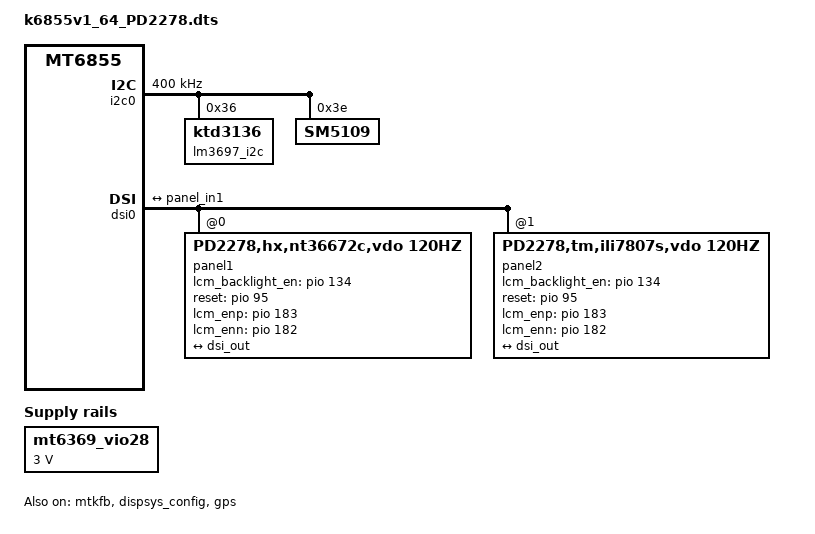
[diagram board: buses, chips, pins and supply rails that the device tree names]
// SPDX-License-Identifier: (GPL-2.0 OR MIT)
/*
 * Copyright (C) 2021 MediaTek Inc.
 */
/dts-v1/;
/plugin/;
#include <dt-bindings/interrupt-controller/arm-gic.h>
#include <dt-bindings/interrupt-controller/irq.h>
#include <dt-bindings/pinctrl/mt6855-pinfunc.h>
#include "mediatek/mt6855-sia8159-PD2278.dtsi" /*vivo audio add for PA SIA8159*/

&mtk_leds {
	compatible = "mediatek,disp-leds";

	backlight {
		led_mode = <4>;
		gate_enable = <1>;
		pwm_config = <0 1 0 0 0>;
		label = "lcd-backlight";
		max-brightness = <2047>;
		led-bits = <11>;
		default-state="on";
	};
};

/* Trustonic Mobicore real driver */
&mobicore {
	trustonic,real-drv = <1>;
};

&pio {
	i2c0_active: i2c0_active {
		pins_cmd0_dat {
			pinmux = <PINMUX_GPIO137__FUNC_SCL0>,<PINMUX_GPIO138__FUNC_SDA0>;
			bias-pull-up;
			mediatek,drive-strength-adv = <0>;
			drive-strength = <2>;
		};
	};
	i2c0_suspend: i2c0_suspend {
		pins_cmd0_dat {
			pinmux = <PINMUX_GPIO137__FUNC_GPIO137>,<PINMUX_GPIO138__FUNC_GPIO138>;
			bias-pull-down;
		};
	};
};

&i2c0 {
	#address-cells = <1>;
	#size-cells = <0>;
	clock-frequency = <400000>;
	mediatek,use-open-drain;

	lm3697_i2c@36 {
		compatible = "ktd3136", "aw99703";
		reg = <0x36>;
		status = "okay";
		leds_vivo,parallel_num = <3>;
		leds_vivo,hbm_current_values = /bits/ 8 <0xd 0x12 0x13 0x16>; //note: [0]=ctrl_a_fs_current,  [1]=hbm1, [2]=hbm2, [3]=hbm3
	};

	SM5109@3E {
		compatible = "SM5109";
		reg = <0x3E>;
		status = "okay";
		pinctrl-names = "default", "sleep";
		pinctrl-0 = <&i2c0_active>;
		pinctrl-1 = <&i2c0_suspend>;
	};

};
&pio {
	mtkfb_pins_lcm_led_en1: lcm_led_en1_gpio {
		pins_cmd_dat {
			pinmux = <PINMUX_GPIO161__FUNC_GPIO161>;
			slew-rate = <1>;
			output-high;
		};
	};

	mtkfb_pins_lcm_led_en0: lcm_led_en0_gpio {
		pins_cmd_dat {
			pinmux = <PINMUX_GPIO161__FUNC_GPIO161>;
			slew-rate = <1>;
			output-low;
		};
	};

	mtkfb_pins_lcm_rst_out1_gpio: lcm_rst_out1_gpio {
		pins_cmd_dat {
			pinmux = <PINMUX_GPIO95__FUNC_GPIO95>;
			slew-rate = <1>;
			output-high;
		};
	};

	mtkfb_pins_lcm_rst_out0_gpio: lcm_rst_out0_gpio {
		pins_cmd_dat {
			pinmux = <PINMUX_GPIO95__FUNC_GPIO95>;
			slew-rate = <1>;
			output-low;
		};
	};

	mtkfb_pins_lcm_dsi_te: lcm_dsi_te {
		pins_cmd_dat {
			pinmux = <PINMUX_GPIO94__FUNC_DSI_TE>;
		};
	};
};

&mtkfb {
	pinctrl-names = "lcm_led_en1_gpio", "lcm_led_en0_gpio",
		"lcm_rst_out1_gpio", "lcm_rst_out0_gpio",
		"mode_te_te";
	pinctrl-0 = <&mtkfb_pins_lcm_led_en1>;
	pinctrl-1 = <&mtkfb_pins_lcm_led_en0>;
	pinctrl-2 = <&mtkfb_pins_lcm_rst_out1_gpio>;
	pinctrl-3 = <&mtkfb_pins_lcm_rst_out0_gpio>;
	pinctrl-4 = <&mtkfb_pins_lcm_dsi_te>;
	status = "okay";
};

&dispsys_config {
	pinctrl-names =
		"lcm_rst_out1_gpio", "lcm_rst_out0_gpio",
		"mode_te_te";
	pinctrl-0 = <&mtkfb_pins_lcm_rst_out1_gpio>;
	pinctrl-1 = <&mtkfb_pins_lcm_rst_out0_gpio>;
	pinctrl-2 = <&mtkfb_pins_lcm_dsi_te>;
	status = "okay";
};

&dsi0 {
	status = "okay";
	#address-cells = <1>;
	#size-cells = <0>;
	// switch_fps = <120>;
	panel1@0 {
		compatible = "PD2278,hx,nt36672c,vdo,120hz";
		reg = <0>;
		lcm_backlight_en-gpios = <&pio 134 0>;
		reset-gpios = <&pio 95 0>;
		gate-ic = <0>;
		lcm_enp-gpios = <&pio 183 0>;
		lcm_enn-gpios = <&pio 182 0>;
		rc-enable = <1>;
		pinctrl-names = "default";
		port {
			panel_in1: endpoint {
				remote-endpoint = <&dsi_out>;
			};
		};
		vivo_panel_power_on {
			type =
				"gpio,high", "lcm_enp-gpios",
				"delay,usleep", "4180 4380",
				"gpio,high", "lcm_enn-gpios";
		};

		vivo_panel_power_off {
			type =
				"gpio,low", "lcm_enn-gpios",
				"delay,usleep", "5180 5380",
				"gpio,low", "lcm_enp-gpios",
				"delay,usleep", "4180 4380";
		};

		vivo_panel_reset {
			type =
				"delay,usleep", "5000 5100",
				"gpio,low", "reset-gpios",
				"delay,usleep", "5000 5100",
				"gpio,high", "reset-gpios",
				"delay,usleep", "1000 1100",
				"gpio,low", "reset-gpios",
				"delay,usleep", "5000 5100",
				"gpio,high", "reset-gpios",
				"delay,usleep", "12000 12100";
		};

		vivo_panel_shutdown {
			type =
				"delay,usleep", "3300 3800",
				"gpio,low", "reset-gpios",
				"delay,usleep", "2300 2800",
				"gpio,low", "lcm_enn-gpios",
				"delay,usleep", "5180 5380",
				"gpio,low", "lcm_enp-gpios",
				"delay,usleep", "4180 4380";
		};

		vivo_bkg_en_high {
			type =
				"delay,usleep", "1000 1100",
				"gpio,high", "lcm_backlight_en-gpios",
				"delay,usleep", "5000 5100";
		};

		vivo_bkg_en_low {
			type =
				"delay,usleep", "5000 5100",
				"gpio,low", "lcm_backlight_en-gpios",
				"delay,usleep", "5000 5100";
		};

	};
	panel2@0 {
		compatible = "PD2278,tm,ili7807s,vdo,120hz";
		reg = <1>;
		lcm_backlight_en-gpios = <&pio 134 0>;
		reset-gpios = <&pio 95 0>;
		gate-ic = <0>;
		lcm_enp-gpios = <&pio 183 0>;
		lcm_enn-gpios = <&pio 182 0>;
		rc-enable = <1>;
		pinctrl-names = "default";
		port {
			panel_in2: endpoint {
				remote-endpoint = <&dsi_out>;
			};
		};
		vivo_panel_power_on {
			type =
				"gpio,high", "lcm_enp-gpios",
				"delay,usleep", "3000 3200",
				"gpio,high", "lcm_enn-gpios",
				"delay,usleep", "12000 12200";
		};

		vivo_panel_power_off {
			type =
				"gpio,low", "lcm_enn-gpios",
				"delay,usleep", "5180 5380",
				"gpio,low", "lcm_enp-gpios",
				"delay,usleep", "4180 4380";
		};

		vivo_panel_reset {
			type =
				"delay,usleep", "5000 5100",
				"gpio,low", "reset-gpios",
				"delay,usleep", "5000 5100",
				// "gpio,high", "reset-gpios",
				// "delay,usleep", "1000 1100",
				// "gpio,low", "reset-gpios",
				// "delay,usleep", "5000 5100",
				"gpio,high", "reset-gpios",
				"delay,usleep", "12000 12100";
		};

		vivo_panel_shutdown {
			type =
				"delay,usleep", "3300 3800",
				"gpio,low", "reset-gpios",
				"delay,usleep", "2300 2800",
				"gpio,low", "lcm_enn-gpios",
				"delay,usleep", "5180 5380",
				"gpio,low", "lcm_enp-gpios",
				"delay,usleep", "4180 4380";
		};

		vivo_bkg_en_high {
			type =
				"delay,usleep", "1000 1100",
				"gpio,high", "lcm_backlight_en-gpios",
				"delay,usleep", "5000 5100";
		};

		vivo_bkg_en_low {
			type =
				"delay,usleep", "5000 5100",
				"gpio,low", "lcm_backlight_en-gpios",
				"delay,usleep", "5000 5100";
		};

	};

	ports {
		port {
			dsi_out: endpoint {
				remote-endpoint = <&panel_in1>;
			};
		};
	};
};

/* GPS GPIO standardization start */
&pio {
	gps_pins_default: gps_default {
	};
	gps_l1_lna_pins_ol: gps_l1_lna@0 {
		pins_cmd_dat {
			pinmux = <PINMUX_GPIO133__FUNC_GPIO133>;
			output-low;
		};
	};
	gps_l1_lna_pins_dsp_ctrl: gps_l1_lna@1 {
		pins_cmd_dat {
			pinmux = <PINMUX_GPIO133__FUNC_GPS_L1_ELNA_EN>;
		};
	};
	gps_l1_lna_pins_oh: gps_l1_lna@2 {
		pins_cmd_dat {
			pinmux = <PINMUX_GPIO133__FUNC_GPIO133>;
			output-high;
		};
	};
	gps_l5_lna_pins_ol: gps_l5_lna@0 {
		pins_cmd_dat {
			pinmux = <PINMUX_GPIO134__FUNC_GPIO134>;
			output-low;
		};
	};
	gps_l5_lna_pins_dsp_ctrl: gps_l5_lna@1 {
		pins_cmd_dat {
			pinmux = <PINMUX_GPIO134__FUNC_GPS_L5_ELNA_EN>;
		};
	};
	gps_l5_lna_pins_oh: gps_l5_lna@2 {
		pins_cmd_dat {
			pinmux = <PINMUX_GPIO134__FUNC_GPIO134>;
			output-high;
		};
	};
};
&gps {
	pinctrl-names = "default",
		"gps_l1_lna_disable",
		"gps_l1_lna_dsp_ctrl",
		"gps_l1_lna_enable",
		"gps_l5_lna_disable",
		"gps_l5_lna_dsp_ctrl",
		"gps_l5_lna_enable";
	pinctrl-0 = <&gps_pins_default>;
	pinctrl-1 = <&gps_l1_lna_pins_ol>;
	pinctrl-2 = <&gps_l1_lna_pins_dsp_ctrl>;
	pinctrl-3 = <&gps_l1_lna_pins_oh>;
	pinctrl-4 = <&gps_l5_lna_pins_ol>;
	pinctrl-5 = <&gps_l5_lna_pins_dsp_ctrl>;
	pinctrl-6 = <&gps_l5_lna_pins_oh>;
	status = "okay";
};
/* GPS GPIO standardization end */

#include "mediatek/cust_mt6855_camera_PD2278.dtsi"

/* AUDIO GPIO standardization start */
&afe{
	pinctrl-names = "aud_clk_mosi_off",
					"aud_clk_mosi_on",
					"aud_sync_mosi_off",
					"aud_sync_mosi_on",
					"aud_dat_mosi_off",
					"aud_dat_mosi_on",
					"aud_dat_miso0_off",
					"aud_dat_miso0_on",
					"aud_dat_miso1_off",
					"aud_dat_miso1_on",
					"aud_dat_miso2_off",
					"aud_dat_miso2_on",
					"vow_dat_miso_off",
					"vow_dat_miso_on",
					"vow_clk_miso_off",
					"vow_clk_miso_on",
					"aud_nle_mosi_off",
					"aud_nle_mosi_on";
			pinctrl-0 = <&aud_clk_mosi_off>;
			pinctrl-1 = <&aud_clk_mosi_on>;
			pinctrl-2 = <&aud_sync_mosi_off>;
			pinctrl-3 = <&aud_sync_mosi_on>;
			pinctrl-4 = <&aud_dat_mosi_off>;
			pinctrl-5 = <&aud_dat_mosi_on>;
			pinctrl-6 = <&aud_dat_miso0_off>;
			pinctrl-7 = <&aud_dat_miso0_on>;
			pinctrl-8 = <&aud_dat_miso1_off>;
			pinctrl-9 = <&aud_dat_miso1_on>;
			pinctrl-10 = <&aud_dat_miso2_off>;
			pinctrl-11 = <&aud_dat_miso2_on>;
			pinctrl-12 = <&vow_dat_miso_off>;
			pinctrl-13 = <&vow_dat_miso_on>;
			pinctrl-14 = <&vow_clk_miso_off>;
			pinctrl-15 = <&vow_clk_miso_on>;
			pinctrl-16 = <&aud_nle_mosi_off>;
			pinctrl-17 = <&aud_nle_mosi_on>;
};

&pio {
	aud_clk_mosi_off: aud_clk_mosi_off {
		pins_cmd0_dat {
			pinmux = <PINMUX_GPIO172__FUNC_GPIO172>;
			input-enable;
			drive-strength = <2>;
			bias-pull-down;
		};
	};
	aud_clk_mosi_on: aud_clk_mosi_on {
		pins_cmd0_dat {
			pinmux = <PINMUX_GPIO172__FUNC_AUD_CLK_MOSI>;
			input-schmitt-enable;
			drive-strength = <2>;
			bias-disable;
		};
	};
	aud_sync_mosi_off: aud_sync_mosi_off {
		pins_cmd0_dat {
			pinmux = <PINMUX_GPIO173__FUNC_GPIO173>;
			input-enable;
			drive-strength = <2>;
			bias-pull-down;
		};
	};
	aud_sync_mosi_on: aud_sync_mosi_on {
		pins_cmd0_dat {
			pinmux = <PINMUX_GPIO173__FUNC_AUD_SYNC_MOSI>;
			input-schmitt-enable;
			drive-strength = <2>;
			bias-disable;
		};
	};
	aud_dat_mosi_off: aud_dat_mosi_off {
		pins_cmd0_dat {
			pinmux = <PINMUX_GPIO174__FUNC_GPIO174>;
			input-enable;
			drive-strength = <2>;
			bias-disable;
		};
		pins_cmd1_dat {
			pinmux = <PINMUX_GPIO175__FUNC_GPIO175>;
			input-enable;
			drive-strength = <2>;
			bias-disable;
		};
		pins_cmd2_dat {
			pinmux = <PINMUX_GPIO176__FUNC_GPIO176>;
			input-enable;
			bias-disable;
		};
	};
	aud_dat_mosi_on: aud_dat_mosi_on {
		pins_cmd0_dat {
			pinmux = <PINMUX_GPIO174__FUNC_AUD_DAT_MOSI0>;
			input-schmitt-enable;
			drive-strength = <2>;
			bias-disable;
		};
		pins_cmd1_dat {
			pinmux = <PINMUX_GPIO175__FUNC_AUD_DAT_MOSI1>;
			input-schmitt-enable;
			drive-strength = <2>;
			bias-disable;
		};
		pins_cmd2_dat {
			pinmux = <PINMUX_GPIO176__FUNC_AUD_DAT_MOSI2>;
			input-schmitt-enable;
			bias-disable;
		};
	};
	aud_dat_miso0_off: aud_dat_miso0_off {
		pins_cmd1_dat {
			pinmux = <PINMUX_GPIO179__FUNC_GPIO179>;
			input-enable;
			bias-pull-down;
		};
	};
	aud_dat_miso0_on: aud_dat_miso0_on {
		pins_cmd1_dat {
			pinmux = <PINMUX_GPIO179__FUNC_AUD_DAT_MISO0>;
			input-schmitt-enable;
			bias-disable;
		};
	};
	aud_dat_miso1_off: aud_dat_miso1_off {
		pins_cmd1_dat {
			pinmux = <PINMUX_GPIO180__FUNC_GPIO180>;
			input-enable;
			bias-disable;
		};
	};
	aud_dat_miso1_on: aud_dat_miso1_on {
		pins_cmd1_dat {
			pinmux = <PINMUX_GPIO180__FUNC_AUD_DAT_MISO1>;
			input-schmitt-enable;
			bias-disable;
		};
	};
	aud_dat_miso2_off: aud_dat_miso2_off {
		pins_cmd1_dat {
			pinmux = <PINMUX_GPIO181__FUNC_GPIO181>;
			input-enable;
			bias-disable;
		};
	};
	aud_dat_miso2_on: aud_dat_miso2_on {
		pins_cmd1_dat {
			pinmux = <PINMUX_GPIO181__FUNC_AUD_DAT_MISO2>;
			input-schmitt-enable;
			bias-disable;
		};
	};
	vow_dat_miso_off: vow_dat_miso_off {
		pins_cmd1_dat {
			pinmux = <PINMUX_GPIO179__FUNC_GPIO179>;
			input-enable;
			bias-pull-down;
		};
	};
	vow_dat_miso_on: vow_dat_miso_on {
		pins_cmd1_dat {
			pinmux = <PINMUX_GPIO179__FUNC_VOW_DAT_MISO>;
			input-schmitt-enable;
			bias-disable;
		};
	};
	vow_clk_miso_off: vow_clk_miso_off {
		pins_cmd1_dat {
			pinmux = <PINMUX_GPIO180__FUNC_GPIO180>;
			input-enable;
			bias-pull-down;
		};
	};
	vow_clk_miso_on: vow_clk_miso_on {
		pins_cmd1_dat {
			pinmux = <PINMUX_GPIO180__FUNC_VOW_CLK_MISO>;
			input-schmitt-enable;
			bias-disable;
		};
	};
	aud_nle_mosi_off: aud_nle_mosi_off {
		pins_cmd1_dat {
			pinmux = <PINMUX_GPIO177__FUNC_GPIO177>;
			input-enable;
			drive-strength = <2>;
			bias-pull-down;
		};
		pins_cmd2_dat {
			pinmux = <PINMUX_GPIO178__FUNC_GPIO178>;
			input-enable;
			drive-strength = <2>;
			bias-pull-down;
		};
	};
	aud_nle_mosi_on: aud_nle_mosi_on {
		pins_cmd1_dat {
			pinmux = <PINMUX_GPIO177__FUNC_AUD_NLE_MOSI0>;
			input-schmitt-enable;
			drive-strength = <2>;
			bias-disable;
		};
		pins_cmd2_dat {
			pinmux = <PINMUX_GPIO178__FUNC_AUD_NLE_MOSI1>;
			input-schmitt-enable;
			drive-strength = <2>;
			bias-disable;
		};
	};
};
/* AUDIO GPIO standardization end */

&pdc {
	pd_vbus_upper_bound = <12000000>;
};

/* add for proximity led by sensor team begin */
&mt6369_vio28 {
	regulator-min-microvolt = <3000000>;
	regulator-max-microvolt = <3000000>;
	regulator-always-on;
};
/* add for proximity led by sensor team end*/

/* add by sensor team for SAR Power begin*/
&pio {
	sar_power_state: sar_power_rf_detect {
		pins_cmd0_dat {
			pinmux = <PINMUX_GPIO17__FUNC_GPIO17>,<PINMUX_GPIO19__FUNC_GPIO19>;
			slew-rate = <0>;
			bias-disable;
		};
	};
};

&sar_power {
	status="okay";
	pinctrl-names = "default";
	pinctrl-0 = <&sar_power_state>;
	sar-power-rf-detect,gpios= <&pio 17 0x0>;
	sar-power-rf-detect_1,gpios= <&pio 19 0x0>;
};
/* add by sensor team for SAR Power end*/
//#include <k6855v1_64/cust.dtsi>
#include "mediatek/fingerprint/mt6855-vivo-fp-PD2278.dtsi"
#include "mtk-vivo-tp-PD2278.dtsi"
/*End of this file, DO NOT ADD ANYTHING HERE*/

